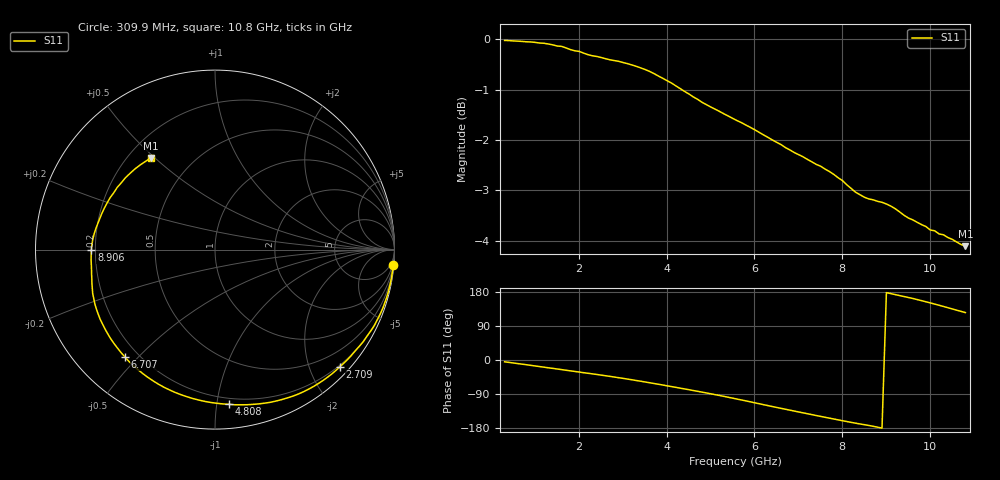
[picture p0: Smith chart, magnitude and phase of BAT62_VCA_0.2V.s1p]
! Infineon Technologies  Discrete & RF Semiconductors
! BAT62
! VCA = 0.2 V
! One-Port S-Parameters
# Hz  S  MA  R  50
!f  S11
!Hz  Mag  Ang
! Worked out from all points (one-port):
!   106 points, 309.9 MHz to 10.8 GHz, reference 50 ohm
!   lowest |S11| = -4.1 dB at 10.8 GHz (marker M1), VSWR 4.31, Z = 14.5 + j24.2 ohm
!   |S11| at or under -10 dB: nowhere
!   S11 on the Smith chart (normalised r, x): 309.9 MHz: 1, -24; 2.709 GHz: 0.17, -2.51; 4.808 GHz: 0.16, -1.08; 6.707 GHz: 0.15, -0.46; 8.906 GHz: 0.18, -0.00; 10.8 GHz: 0.29, +0.48
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3.0985e8  0.9971 -4.8
1.0095e9  0.9927 -15.8
1.70915e9  0.9803 -27.1
2.4088e9  0.9614 -38.1
2.70865e9  0.9541 -43.3
3.0085e9  0.9481 -48.5
3.4083e9  0.9366 -56.0
3.70815e9  0.9247 -62.0
4.10795e9  0.9049 -70.1
4.30785e9  0.8934 -74.2
4.8076e9  0.8657 -84.8
5.2074e9  0.8478 -93.7
5.6072e9  0.8303 -103.2
6.10695e9  0.8085 -115.4
6.4068e9  0.7945 -122.8
6.70665e9  0.7808 -130.0
6.90655e9  0.7721 -134.7
7.2064e9  0.76 -141.8
7.6062e9  0.7435 -151.1
8.006e9  0.724 -160.3
8.2059e9  0.7111 -164.7
8.90555e9  0.6891 -179.8
9.2054e9  0.6791 172.6
9.50525e9  0.6648 165.0
9.8051e9  0.6549 156.6
1.010495e10  0.6457 147.6
1.050475e10  0.6332 134.8
1.08046e10  0.6234 125.1
